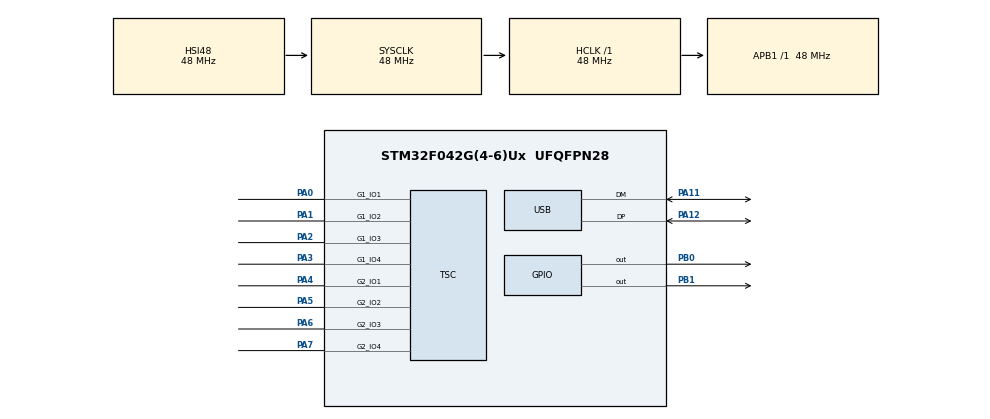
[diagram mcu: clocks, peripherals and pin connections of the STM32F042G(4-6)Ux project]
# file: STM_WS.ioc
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Mcu.Family=STM32F0
Mcu.Name=STM32F042G(4-6)Ux
Mcu.Package=UFQFPN28
NVIC.USB_IRQn=true\:0\:0\:false\:false\:true\:false\:true\:true
PA0.Mode=G1_IO1-Sampling
PA0.Signal=TSC_G1_IO1
PA1.Mode=G1_IO2-Channel
PA1.Signal=TSC_G1_IO2
PA11.Mode=Device
PA11.Signal=USB_DM
PA12.Mode=Device
PA12.Signal=USB_DP
PA2.Mode=G1_IO3-Channel
PA2.Signal=TSC_G1_IO3
PA3.Mode=G1_IO4-Channel
PA3.Signal=TSC_G1_IO4
PA4.Mode=G2_IO1-Channel
PA4.Signal=TSC_G2_IO1
PA5.Mode=G2_IO2-Channel
PA5.Signal=TSC_G2_IO2
PA6.Mode=G2_IO3-Channel
PA6.Signal=TSC_G2_IO3
PA7.Mode=G2_IO4-Sampling
PA7.Signal=TSC_G2_IO4
PB0.PinState=GPIO_PIN_SET
PB0.Signal=GPIO_Output
PB1.PinState=GPIO_PIN_SET
PB1.Signal=GPIO_Output
ProjectManager.HeapSize=0x200
ProjectManager.StackSize=0x400
ProjectManager.TargetToolchain=CMake
RCC.AHBFreq_Value=48000000
RCC.APB1Freq_Value=48000000
RCC.APB1TimFreq_Value=48000000
RCC.HCLKFreq_Value=48000000
RCC.SYSCLKFreq_VALUE=48000000
RCC.SYSCLKSource=RCC_SYSCLKSOURCE_HSI48
TOUCHSENSING.IO_TOUCHKEY1=G1_IO2
TOUCHSENSING.IO_TOUCHKEY1-TouchSensing_Enabled=G1_IO2
TOUCHSENSING.IO_TOUCHKEY2=G2_IO1
TOUCHSENSING.IO_TOUCHKEY3=G1_IO3
TOUCHSENSING.IO_TOUCHKEY4=G2_IO2
TOUCHSENSING.IO_TOUCHKEY5=G1_IO4
TOUCHSENSING.IO_TOUCHKEY6=G2_IO3
TOUCHSENSING.TSLPRM_SENSORS_DATAS=TSLPRM_TOTAL_TOUCHKEYS 3 2 2 2 
TOUCHSENSING.TSLPRM_TOTAL_TOUCHKEYS=6
TSC.ChannelIOs-G1_IO2-Channel=TSC_GROUP1_IO2
TSC.ChannelIOs-G1_IO3-Channel=TSC_GROUP1_IO3
TSC.ChannelIOs-G1_IO4-Channel=TSC_GROUP1_IO4
TSC.ChannelIOs-G2_IO1-Channel=TSC_GROUP2_IO1
TSC.ChannelIOs-G2_IO2-Channel=TSC_GROUP2_IO2
TSC.ChannelIOs-G2_IO3-Channel=TSC_GROUP2_IO3
TSC.SamplingIOs-G1_IO1-Sampling=TSC_GROUP1_IO1
TSC.SamplingIOs-G2_IO4-Sampling=TSC_GROUP2_IO4
USB_DEVICE.CLASS_NAME_FS=HID
USB_DEVICE.MANUFACTURER_STRING=BEKHEETOS\: PASSPRESS
USB_DEVICE.VirtualMode=Hid
USB_DEVICE.VirtualModeFS=Hid_FS
VP_SYS_VS_PINREMAP.Mode=PINREMAP
VP_TOUCHSENSING_VS_TOUCHSENSING.Mode=TouchSensing_Enabled
VP_USB_DEVICE_VS_USB_DEVICE_HID_FS.Mode=HID_FS
board=custom

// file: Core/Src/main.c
/* USER CODE BEGIN Header */
/**
  ******************************************************************************
  * @file           : main.c
  * @brief          : Main program body
  ******************************************************************************
  * @attention
  *
  * Copyright (c) 2026 STMicroelectronics.
  * All rights reserved.
  *
  * This software is licensed under terms that can be found in the LICENSE file
  * in the root directory of this software component.
  * If no LICENSE file comes with this software, it is provided AS-IS.
  *
  ******************************************************************************
  */
/* USER CODE END Header */
#include "main.h"
#include "touchsensing.h"
#include "usb_device.h"

/* USER CODE BEGIN Includes */
#if ONLINE_CALIBRATION_DEBUG
#include "usbd_cdc_if.h"
#endif
#include "usbd_hid.h"
#include "touch_password.h"
#include <stdio.h>
#include <string.h>

/* USER CODE END Includes */

/* USER CODE BEGIN PTD */

typedef struct
{
  const char *name;
  uint32_t channel;
  uint32_t group;
  uint32_t raw;
  uint32_t baseline;
  int32_t delta;
  uint8_t pressed;
} TouchKey_t;

/* USER CODE END PTD */

/* USER CODE BEGIN PD */

#define TOUCH_KEY_COUNT            6U
#define TOUCH_CALIBRATION_SAMPLES  32U
#define TOUCH_DELTA_THRESHOLD      25
#define TOUCH_SCAN_PERIOD_MS       20U
#define TOUCH_DEBOUNCE_MS          500U
#if ONLINE_CALIBRATION_DEBUG
#define CDC_CMD_MAX_LEN            96U
#else
#define HID_CTRL_CMD_PING          0x01U
#define HID_CTRL_CMD_GET_STATUS    0x02U
#define HID_STATUS_TYPE_PING_ACK   0x81U
#define HID_STATUS_TYPE_SNAPSHOT   0x82U
#endif

/* USER CODE END PD */

TSC_HandleTypeDef htsc;

/* USER CODE BEGIN PV */

static TouchKey_t touchKeys[TOUCH_KEY_COUNT] =
{
  {"BTN1_PA3", TSC_GROUP1_IO4, TSC_GROUP1_IDX, 0U, 0U, 0, 0U},
  {"BTN2_PA6", TSC_GROUP2_IO3, TSC_GROUP2_IDX, 0U, 0U, 0, 0U},
  {"BTN3_PA2", TSC_GROUP1_IO3, TSC_GROUP1_IDX, 0U, 0U, 0, 0U},
  {"BTN4_PA5", TSC_GROUP2_IO2, TSC_GROUP2_IDX, 0U, 0U, 0, 0U},
  {"BTN5_PA1", TSC_GROUP1_IO2, TSC_GROUP1_IDX, 0U, 0U, 0, 0U},
  {"BTN6_PA4", TSC_GROUP2_IO1, TSC_GROUP2_IDX, 0U, 0U, 0, 0U}
};

static uint32_t touchCalibrationCount = 0U;
static uint8_t touchAnyPressed = 0U;
static uint8_t touchPrevPressed[TOUCH_KEY_COUNT] = {0U};
static uint32_t touchLastAcceptedPressTick[TOUCH_KEY_COUNT] = {0U};
static uint8_t touchThresholds[TOUCH_KEY_COUNT] =
{
  TOUCH_DELTA_THRESHOLD,
  TOUCH_DELTA_THRESHOLD,
  TOUCH_DELTA_THRESHOLD,
  TOUCH_DELTA_THRESHOLD,
  TOUCH_DELTA_THRESHOLD,
  TOUCH_DELTA_THRESHOLD
};
static uint8_t passwordSystemEnabled = 1U;

/* USER CODE END PV */

void SystemClock_Config(void);
static void MX_GPIO_Init(void);
static void MX_TSC_Init(void);
/* USER CODE BEGIN PFP */

static uint32_t Touch_ReadChannel(uint32_t channelIO, uint32_t groupIdx);
static void Touch_Scan(void);
#if ONLINE_CALIBRATION_DEBUG
static void Touch_PrintPressEvents(void);
static void Touch_PrintSnapshot(void);
static void USB_SendText(const char *text);
static void Touch_ProcessCommands(void);
static void Touch_PrintThresholds(void);
#else
static void HID_Keyboard_Task(void);
static void HID_ProcessControlReport(void);
static void HID_UpdateStatusReport(uint8_t msgType, uint8_t seq);
#endif

/* USER CODE END PFP */

/* USER CODE BEGIN 0 */

static uint32_t Touch_ReadChannel(uint32_t channelIO, uint32_t groupIdx)
{
  TSC_IOConfigTypeDef ioConfig = {0};

  ioConfig.ChannelIOs = channelIO;
  ioConfig.ShieldIOs = 0U;
  ioConfig.SamplingIOs = TSC_GROUP1_IO1 | TSC_GROUP2_IO4;

  if (HAL_TSC_IOConfig(&htsc, &ioConfig) != HAL_OK)
  {
    return 0U;
  }

  if (HAL_TSC_Start(&htsc) != HAL_OK)
  {
    return 0U;
  }

  if (HAL_TSC_PollForAcquisition(&htsc) != HAL_OK)
  {
    return 0U;
  }

  return HAL_TSC_GroupGetValue(&htsc, groupIdx);
}

static void Touch_Scan(void)
{
  uint32_t index;
  touchAnyPressed = 0U;

  for (index = 0U; index < TOUCH_KEY_COUNT; index++)
  {
    touchKeys[index].raw = Touch_ReadChannel(touchKeys[index].channel, touchKeys[index].group);

    if (touchCalibrationCount < TOUCH_CALIBRATION_SAMPLES)
    {
      touchKeys[index].baseline = (touchKeys[index].baseline * touchCalibrationCount + touchKeys[index].raw) / (touchCalibrationCount + 1U);
      touchKeys[index].delta = 0;
      touchKeys[index].pressed = 0U;
    }
    else
    {
      int32_t deltaAbs;

      touchKeys[index].delta = (int32_t)touchKeys[index].raw - (int32_t)touchKeys[index].baseline;
      deltaAbs = touchKeys[index].delta;
      if (deltaAbs < 0)
      {
        deltaAbs = -deltaAbs;
      }

      touchKeys[index].pressed = (deltaAbs > touchThresholds[index]) ? 1U : 0U;

      if (touchKeys[index].pressed == 0U)
      {
        touchKeys[index].baseline = ((touchKeys[index].baseline * 31U) + touchKeys[index].raw) / 32U;
      }
    }

    if (touchKeys[index].pressed != 0U)
    {
      touchAnyPressed = 1U;
    }
  }

  if (touchCalibrationCount < TOUCH_CALIBRATION_SAMPLES)
  {
    touchCalibrationCount++;
  }
}

#if ONLINE_CALIBRATION_DEBUG
static void Touch_PrintThresholds(void)
{
  char line[160];
  int length;

  length = snprintf(
      line,
      sizeof(line),
      "th 0=%u 1=%u 2=%u 3=%u 4=%u 5=%u\r\n",
      (unsigned int)touchThresholds[0],
      (unsigned int)touchThresholds[1],
      (unsigned int)touchThresholds[2],
      (unsigned int)touchThresholds[3],
      (unsigned int)touchThresholds[4],
      (unsigned int)touchThresholds[5]);

  if (length > 0)
  {
    USB_SendText(line);
  }
}
#endif
#if ONLINE_CALIBRATION_DEBUG
static void Touch_PrintPressEvents(void)
{
  uint32_t index;
  uint32_t nowTick = HAL_GetTick();
  static uint8_t touchPrevPressedLog[TOUCH_KEY_COUNT] = {0U};
  static uint32_t touchLastAcceptedPressTickLog[TOUCH_KEY_COUNT] = {0U};

  if (touchCalibrationCount < TOUCH_CALIBRATION_SAMPLES)
  {
    return;
  }

  for (index = 0U; index < TOUCH_KEY_COUNT; index++)
  {
    if ((touchKeys[index].pressed != 0U) && (touchPrevPressedLog[index] == 0U)
        && ((nowTick - touchLastAcceptedPressTickLog[index]) >= TOUCH_DEBOUNCE_MS))
    {
      char line[160];
      int length;
      touchLastAcceptedPressTickLog[index] = nowTick;

      length = snprintf(
          line,
          sizeof(line),
          "[%lu ms] PRESS btn=%lu name=%s raw=%lu base=%lu delta=%ld th=%u\r\n",
          nowTick,
          index + 1U,
          touchKeys[index].name,
          touchKeys[index].raw,
          touchKeys[index].baseline,
          touchKeys[index].delta,
          (unsigned int)touchThresholds[index]);

      if (length > 0)
      {
        USB_SendText(line);
      }
    }

    touchPrevPressedLog[index] = touchKeys[index].pressed;
  }
}
#endif

#if ONLINE_CALIBRATION_DEBUG
static void Touch_ProcessCommands(void)
{
  char cmd[CDC_CMD_MAX_LEN];

  if (CDC_ReadLine(cmd, (uint16_t)sizeof(cmd)) == 0U)
  {
    return;
  }

  if ((strcmp(cmd, "help") == 0) || (strcmp(cmd, "?") == 0))
  {
    USB_SendText("cmd: help | th? | th <idx 0..5> <value> | stat | recal | pwd\r\n");
    USB_SendText("pwd cmds: pwd stat | pwd reset | pwd lock\r\n");
    return;
  }

  if (strcmp(cmd, "th?") == 0)
  {
    Touch_PrintThresholds();
    return;
  }

  if (strcmp(cmd, "stat") == 0)
  {
    Touch_PrintSnapshot();
    return;
  }

  if (strcmp(cmd, "recal") == 0)
  {
    uint32_t index;
    touchCalibrationCount = 0U;
    for (index = 0U; index < TOUCH_KEY_COUNT; index++)
    {
      touchKeys[index].baseline = 0U;
      touchKeys[index].delta = 0;
      touchKeys[index].pressed = 0U;
    }
    USB_SendText("recalibration started\r\n");
    return;
  }

  if (strncmp(cmd, "th ", 3) == 0)
  {
    int index;
    int value;
    char response[80];
    int responseLen;

    if (sscanf(cmd + 3, "%d %d", &index, &value) == 2)
    {
      if ((index >= 0) && (index < (int)TOUCH_KEY_COUNT) && (value > 0) && (value <= 255))
      {
        touchThresholds[index] = (uint8_t)value;
        responseLen = snprintf(response, sizeof(response), "th %d set to %d\r\n", index, value);
        if (responseLen > 0)
        {
          USB_SendText(response);
        }
      }
      else
      {
        USB_SendText("invalid: th <idx 0..5> <value 1..255>\r\n");
      }
    }
    else
    {
      USB_SendText("usage: th <idx 0..5> <value>\r\n");
    }
    return;
  }

  if (strncmp(cmd, "pwd", 3) == 0)
  {
    const char *subcmd = cmd + 3;
    while (*subcmd == ' ')
      subcmd++;

    if ((strcmp(subcmd, "stat") == 0) || (strcmp(subcmd, "") == 0))
    {
      char line[128];
      int len;

      if (TouchPassword_IsLockedOut())
      {
        len = snprintf(line, sizeof(line), "pwd: LOCKED OUT - %lu sec remaining\r\n",
                       TouchPassword_GetLockoutRemainingSec());
      }
      else
      {
        PasswordResult_t result = TouchPassword_GetLastResult();
        if (result.unlocked == 1U)
        {
          len = snprintf(line, sizeof(line), "pwd: LAST UNLOCK success on BTN%lu at t=%lu ms\r\n",
                         result.buttonIdx + 1U, result.unlockTimestamp);
        }
        else
        {
          len = snprintf(line, sizeof(line), "pwd: ready for input\r\n");
        }
      }
      if (len > 0)
        USB_SendText(line);
      return;
    }

    if (strcmp(subcmd, "reset") == 0)
    {
      TouchPassword_ResetBuffer();
      USB_SendText("pwd: buffer reset\r\n");
      return;
    }

    if (strcmp(subcmd, "lock") == 0)
    {
      TouchPassword_ResetBuffer();
      USB_SendText("pwd: manual test lock would require advanced feature\r\n");
      return;
    }

    USB_SendText("pwd: unknown sub-command. try: pwd stat | pwd reset | pwd lock\r\n");
    return;
  }

  USB_SendText("unknown cmd. type help\r\n");
}
#endif

 #if ONLINE_CALIBRATION_DEBUG
static void USB_SendText(const char *text)
{
  uint16_t length = (uint16_t)strlen(text);

  if (length > 0U)
  {
    uint32_t retry;
    for (retry = 0U; retry < 40U; retry++)
    {
      int result = CDC_Transmit_FS((uint8_t *)text, length);
      if (result == USBD_OK)
      {
        break;
      }
      else if (result != USBD_BUSY)
      {
        break;
      }
      HAL_Delay(1);
    }
  }
}

static void Touch_PrintSnapshot(void)
{
  char line[128];
  int length;
  uint32_t index;

  length = snprintf(
      line,
      sizeof(line),
      "--- TOUCH STATUS t=%lu cal=%lu any=%u ---\r\n",
      HAL_GetTick(),
      touchCalibrationCount,
      touchAnyPressed);

  if (length > 0)
  {
    USB_SendText(line);
  }

  for (index = 0U; index < TOUCH_KEY_COUNT; index++)
  {
    length = snprintf(
        line,
        sizeof(line),
      "k%lu %-10s raw=%-4lu base=%-4lu delta=%-5ld th=%-4u p=%u\r\n",
        index,
        touchKeys[index].name,
        touchKeys[index].raw,
        touchKeys[index].baseline,
        touchKeys[index].delta,
      (unsigned int)touchThresholds[index],
        touchKeys[index].pressed);

    if (length > 0)
    {
      USB_SendText(line);
    }
  }
}
#endif

#if !ONLINE_CALIBRATION_DEBUG
extern USBD_HandleTypeDef hUsbDeviceFS;

static uint32_t hidStatusCounter = 0U;
static uint8_t hidLastActiveButtonOneBased = 0U;

static void HID_UpdateStatusReport(uint8_t msgType, uint8_t seq)
{
  uint8_t report[HID_FEATURE_REPORT_SIZE] = {0U};
  uint32_t idx;
  uint32_t uptimeMs = HAL_GetTick();
  const ButtonPassword_t *table = TouchPassword_GetActiveTable();

  report[0] = HID_REPORT_ID_STATUS_IN;
  report[1] = msgType;
  report[2] = seq;
  report[3] = TouchPassword_GetMode();
  report[4] = TouchPassword_IsLockedOut();
  report[5] = 1U; /* Reserved for transport-level connected flag */
  report[6] = hidLastActiveButtonOneBased;
  report[7] = touchAnyPressed;

  report[8] = (uint8_t)(uptimeMs & 0xFFU);
  report[9] = (uint8_t)((uptimeMs >> 8) & 0xFFU);
  report[10] = (uint8_t)((uptimeMs >> 16) & 0xFFU);
  report[11] = (uint8_t)((uptimeMs >> 24) & 0xFFU);

  hidStatusCounter++;
  report[12] = (uint8_t)(hidStatusCounter & 0xFFU);
  report[13] = (uint8_t)((hidStatusCounter >> 8) & 0xFFU);

  for (idx = 0U; idx < TOUCH_KEY_COUNT; idx++)
  {
    report[14U + idx] = table[idx].appendEnter;
    report[20U + idx] = (uint8_t)strlen(table[idx].password);
  }

  (void)USBD_HID_SetFeatureInReport(&hUsbDeviceFS, report, HID_FEATURE_REPORT_SIZE);
}

static void HID_ProcessControlReport(void)
{
  uint8_t report[HID_FEATURE_REPORT_SIZE] = {0U};
  uint16_t length = 0U;

  if (USBD_HID_GetFeatureOutReport(&hUsbDeviceFS, report, &length) != USBD_OK)
  {
    return;
  }

  if ((length < 3U) || (report[0] != HID_REPORT_ID_CTRL_OUT))
  {
    return;
  }

  switch (report[1])
  {
    case HID_CTRL_CMD_PING:
      HID_UpdateStatusReport(HID_STATUS_TYPE_PING_ACK, report[2]);
      break;

    case HID_CTRL_CMD_GET_STATUS:
      HID_UpdateStatusReport(HID_STATUS_TYPE_SNAPSHOT, report[2]);
      break;

    default:
      HID_UpdateStatusReport(0xFFU, report[2]);
      break;
  }
}

static void HID_Keyboard_Task(void)
{
  uint32_t index;
  static uint8_t hidPrevPressed[TOUCH_KEY_COUNT] = {0U};

  for (index = 0U; index < TOUCH_KEY_COUNT; index++)
  {
    if ((touchKeys[index].pressed != 0U) && (hidPrevPressed[index] == 0U))
    {
      HAL_GPIO_TogglePin(GPIOB, GPIO_PIN_0);
      /* HID mode section:
         Map index -> keyboard key and send HID report here once HID class
         is generated in CubeMX (USB_DEVICE class set to HID keyboard). */
    }
    hidPrevPressed[index] = touchKeys[index].pressed;
  }
}
#endif

/* USER CODE END 0 */

int main(void)
{

  /* MCU Configuration--------------------------------------------------------*/

  /* Reset of all peripherals, Initializes the Flash interface and the Systick. */
  HAL_Init();

  /* Configure the system clock */
  SystemClock_Config();

  /* Initialize all configured peripherals */
  MX_GPIO_Init();
  MX_USB_DEVICE_Init();
  MX_TSC_Init();
  MX_TOUCHSENSING_Init();
  /* USER CODE BEGIN 2 */

  /* Initialize password/unlock system */
  TouchPassword_Init();

#if ONLINE_CALIBRATION_DEBUG
  USB_SendText("Touch debug start\r\n");
  USB_SendText("type help then enter\r\n");
  USB_SendText("event log: [time] PRESS btn=<1..6> name=<pin> raw=<r> base=<b> delta=<d> th=<t>\r\n");
  USB_SendText("Password system enabled (hard-coded 6 button passwords)\r\n");
#endif

  /* USER CODE END 2 */

  /* Infinite loop */
  while (1)
  {

    /* USER CODE BEGIN 3 */
    static uint32_t aliveCounter = 0U;
    static uint32_t lastAliveTick = 0U;
    static uint32_t lastScanTick = 0U;
    uint32_t nowTick = HAL_GetTick();

#if ONLINE_CALIBRATION_DEBUG
    if ((nowTick - lastAliveTick) >= 1000U)
    {
      char line[48];
      int length;

      lastAliveTick = nowTick;
      aliveCounter++;
      length = snprintf(line, sizeof(line), "alive=%lu t=%lu ms\r\n", aliveCounter, nowTick);

      if (length > 0)
      {
        USB_SendText(line);
      }
    }

    Touch_ProcessCommands();
#else
    (void)aliveCounter;
    (void)lastAliveTick;

  HID_ProcessControlReport();
#endif

    if ((nowTick - lastScanTick) >= TOUCH_SCAN_PERIOD_MS)
    {
      lastScanTick = nowTick;
      Touch_Scan();

      /* Check for password system input (button press events) */
      if (passwordSystemEnabled)
      {
        uint32_t idx;
        for (idx = 0U; idx < TOUCH_KEY_COUNT; idx++)
        {
          if ((touchKeys[idx].pressed != 0U) && (touchPrevPressed[idx] == 0U)
              && ((nowTick - touchLastAcceptedPressTick[idx]) >= TOUCH_DEBOUNCE_MS))
          {
            touchLastAcceptedPressTick[idx] = nowTick;
            hidLastActiveButtonOneBased = (uint8_t)(idx + 1U);
            TouchPassword_OnButtonPress(idx);
          }
          /* Update state for next scan */
          touchPrevPressed[idx] = touchKeys[idx].pressed;
        }
      }

#if ONLINE_CALIBRATION_DEBUG
      Touch_PrintPressEvents();
#else
  HID_UpdateStatusReport(HID_STATUS_TYPE_SNAPSHOT, 0U);
  HID_Keyboard_Task();
#endif
    }

    /* Run password entry timeout check and unlock logic */
    TouchPassword_Task();

  }
  /* USER CODE END 3 */
}

void SystemClock_Config(void)
{
  RCC_OscInitTypeDef RCC_OscInitStruct = {0};
  RCC_ClkInitTypeDef RCC_ClkInitStruct = {0};
  RCC_PeriphCLKInitTypeDef PeriphClkInit = {0};

  /** Initializes the RCC Oscillators according to the specified parameters
  * in the RCC_OscInitTypeDef structure.
  */
  RCC_OscInitStruct.OscillatorType = RCC_OSCILLATORTYPE_HSI48;
  RCC_OscInitStruct.HSI48State = RCC_HSI48_ON;
  RCC_OscInitStruct.PLL.PLLState = RCC_PLL_NONE;
  if (HAL_RCC_OscConfig(&RCC_OscInitStruct) != HAL_OK)
  {
    Error_Handler();
  }

  /** Initializes the CPU, AHB and APB buses clocks
  */
  RCC_ClkInitStruct.ClockType = RCC_CLOCKTYPE_HCLK|RCC_CLOCKTYPE_SYSCLK
                              |RCC_CLOCKTYPE_PCLK1;
  RCC_ClkInitStruct.SYSCLKSource = RCC_SYSCLKSOURCE_HSI48;
  RCC_ClkInitStruct.AHBCLKDivider = RCC_SYSCLK_DIV1;
  RCC_ClkInitStruct.APB1CLKDivider = RCC_HCLK_DIV1;

  if (HAL_RCC_ClockConfig(&RCC_ClkInitStruct, FLASH_LATENCY_1) != HAL_OK)
  {
    Error_Handler();
  }
  PeriphClkInit.PeriphClockSelection = RCC_PERIPHCLK_USB;
  PeriphClkInit.UsbClockSelection = RCC_USBCLKSOURCE_HSI48;

  if (HAL_RCCEx_PeriphCLKConfig(&PeriphClkInit) != HAL_OK)
  {
    Error_Handler();
  }
}

static void MX_TSC_Init(void)
{

  /** Configure the TSC peripheral
  */
  htsc.Instance = TSC;
  htsc.Init.CTPulseHighLength = TSC_CTPH_2CYCLES;
  htsc.Init.CTPulseLowLength = TSC_CTPL_2CYCLES;
  htsc.Init.SpreadSpectrum = DISABLE;
  htsc.Init.SpreadSpectrumDeviation = 1;
  htsc.Init.SpreadSpectrumPrescaler = TSC_SS_PRESC_DIV1;
  htsc.Init.PulseGeneratorPrescaler = TSC_PG_PRESC_DIV4;
  htsc.Init.MaxCountValue = TSC_MCV_8191;
  htsc.Init.IODefaultMode = TSC_IODEF_OUT_PP_LOW;
  htsc.Init.SynchroPinPolarity = TSC_SYNC_POLARITY_FALLING;
  htsc.Init.AcquisitionMode = TSC_ACQ_MODE_NORMAL;
  htsc.Init.MaxCountInterrupt = DISABLE;
  htsc.Init.ChannelIOs = TSC_GROUP1_IO2|TSC_GROUP1_IO3|TSC_GROUP1_IO4|TSC_GROUP2_IO1
                    |TSC_GROUP2_IO2|TSC_GROUP2_IO3;
  htsc.Init.ShieldIOs = 0;
  htsc.Init.SamplingIOs = TSC_GROUP1_IO1|TSC_GROUP2_IO4;
  if (HAL_TSC_Init(&htsc) != HAL_OK)
  {
    Error_Handler();
  }

}

static void MX_GPIO_Init(void)
{
  GPIO_InitTypeDef GPIO_InitStruct = {0};

  /* GPIO Ports Clock Enable */
  __HAL_RCC_GPIOA_CLK_ENABLE();
  __HAL_RCC_GPIOB_CLK_ENABLE();

  /*Configure GPIO pin Output Level */
  HAL_GPIO_WritePin(GPIOB, GPIO_PIN_0|GPIO_PIN_1, GPIO_PIN_SET);

  /*Configure GPIO pins : PB0 PB1 */
  GPIO_InitStruct.Pin = GPIO_PIN_0|GPIO_PIN_1;
  GPIO_InitStruct.Mode = GPIO_MODE_OUTPUT_PP;
  GPIO_InitStruct.Pull = GPIO_NOPULL;
  GPIO_InitStruct.Speed = GPIO_SPEED_FREQ_LOW;
  HAL_GPIO_Init(GPIOB, &GPIO_InitStruct);

}

void Error_Handler(void)
{
  __disable_irq();
  while (1)
  {
  }
}
